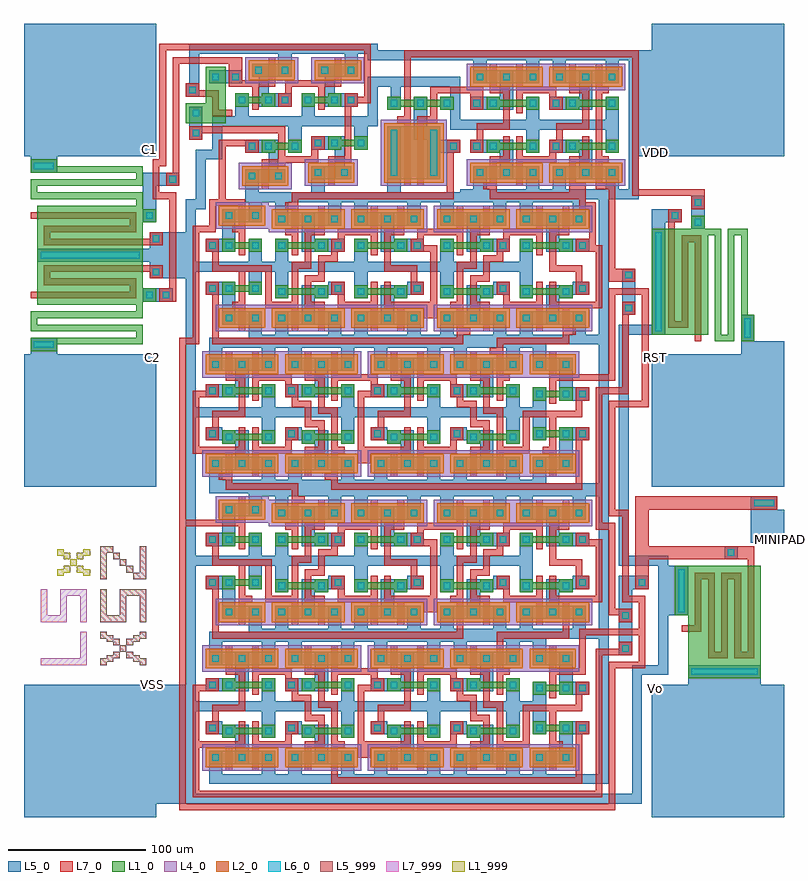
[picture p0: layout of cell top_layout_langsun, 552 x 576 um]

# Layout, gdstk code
from math import pi, radians
import gdstk
lib = gdstk.Library(unit=1e-6, precision=5e-10)
def R(c, l, rs):  # rectangles x0, y0, x1, y1
    for r in rs: c.add(gdstk.rectangle(r[:2], r[2:], *l))
def A(c, l, x, y, w, h, nx, ny, dx, dy):  # array of equal rectangles
    R(c, l, [(x+i*dx, y+j*dy, x+i*dx+w, y+j*dy+h) for i in range(nx) for j in range(ny)])
L1_0 = (1, 0)
L1_999 = (1, 999)
L2_0 = (2, 0)
L4_0 = (4, 0)
L5_0 = (5, 0)
L5_999 = (5, 999)
L6_0 = (6, 0)
L7_0 = (7, 0)
L7_999 = (7, 999)

sprsg_frame_langsun = lib.new_cell('SPRSG_Frame_langsun')
A(sprsg_frame_langsun, L5_0, 0, 0, 96, 96, 1, 3, 0, 240)
A(sprsg_frame_langsun, L5_0, 456, 0, 96, 96, 1, 3, 0, 240)
sprsg_frame_langsun.add(gdstk.Label('Vo', (511.2,50.4), layer=230, texttype=0))
sprsg_frame_langsun.add(gdstk.Label('RST', (508.8,290.4), layer=230, texttype=0))
sprsg_frame_langsun.add(gdstk.Label('VDD', (508.8,532.8), layer=230, texttype=0))
sprsg_frame_langsun.add(gdstk.Label('VSS', (50.4,45.6), layer=230, texttype=0))
sprsg_frame_langsun.add(gdstk.Label('C2', (50.4,285.6), layer=230, texttype=0))
sprsg_frame_langsun.add(gdstk.Label('C1', (50.4,525.6), layer=230, texttype=0))

outputbuffer_layout_lang = lib.new_cell('outputBuffer_layout_langsun')
R(outputbuffer_layout_lang, L1_0, [(820.8,-592.8,864,-583.2), (864,-592.8,873.6,-583.2), (820.8,-583.2,840,-511.2), (840,-583.2,873.6,-511.2), (811.2,-547.2,820.8,-520.8), (811.2,-520.8,820.8,-511.2)])
R(outputbuffer_layout_lang, L5_0, [(820.8,-592.8,873.6,-583.2), (864,-592.8,873.6,-583.2), (871.2,-592.8,873.6,-590.4), (811.2,-547.2,820.8,-520.8), (811.2,-520.8,820.8,-511.2), (811.2,-513.6,813.6,-511.2), (847.2,-506.4,856.8,-496.8), (854.4,-499.2,856.8,-496.8)])
R(outputbuffer_layout_lang, L6_0, [(823.2,-590.4,871.2,-585.6), (813.6,-544.8,818.4,-513.6), (849.6,-504,854.4,-499.2)])
R(outputbuffer_layout_lang, L7_0, [(835.2,-578.4,844.8,-573.6), (844.8,-578.4,849.6,-516), (854.4,-578.4,859.2,-516), (859.2,-578.4,864,-573.6), (864,-578.4,868.8,-544.8), (835.2,-573.6,840,-516), (816,-559.2,825.6,-554.4), (825.6,-559.2,830.4,-554.4), (825.6,-554.4,830.4,-540), (864,-544.8,868.8,-506.4), (825.6,-540,830.4,-520.8), (825.6,-520.8,835.2,-516), (849.6,-520.8,854.4,-516), (847.2,-506.4,856.8,-496.8), (856.8,-506.4,861.6,-496.8), (861.6,-506.4,868.8,-496.8)])
outputbuffer_layout_lang.add(gdstk.Label('Vin', (854.4,-499.2), layer=5, texttype=0))
outputbuffer_layout_lang.add(gdstk.Label('VSS', (813.6,-513.6), layer=5, texttype=0))
outputbuffer_layout_lang.add(gdstk.Label('Vout', (871.2,-590.4), layer=5, texttype=0))

input_protection_layout_ = lib.new_cell('input_protection_layout_langsun')
R(input_protection_layout_, L1_0, [(2.4,-237.6,12,-228), (12,-237.6,21.6,-232.8), (12,-232.8,72,-228), (72,-232.8,84,-228), (79.2,-228,84,-223.2), (2.4,-223.2,72,-218.4), (72,-223.2,84,-218.4), (2.4,-218.4,7.2,-213.6), (2.4,-213.6,64.8,-208.8), (64.8,-213.6,84,-208.8), (79.2,-208.8,84,-199.2), (7.2,-204,16.8,-199.2), (16.8,-204,64.8,-199.2), (64.8,-204,79.2,-199.2), (84,-201.6,93.6,-192), (7.2,-199.2,84,-172.8), (7.2,-172.8,84,-163.2), (7.2,-163.2,84,-136.8), (84,-144,93.6,-134.4), (7.2,-136.8,16.8,-132), (16.8,-136.8,64.8,-132), (64.8,-136.8,79.2,-132), (79.2,-136.8,84,-127.2), (2.4,-127.2,64.8,-122.4), (64.8,-127.2,84,-122.4), (2.4,-122.4,7.2,-117.6), (2.4,-117.6,72,-112.8), (72,-117.6,84,-112.8), (79.2,-112.8,84,-108), (2.4,-108,12,-98.4), (12,-108,72,-103.2), (72,-108,84,-103.2), (12,-103.2,21.6,-98.4)])
R(input_protection_layout_, L5_0, [(2.4,-237.6,12,-228), (12,-237.6,21.6,-228), (84,-201.6,105.6,-192), (103.2,-201.6,105.6,-199.2), (88.8,-184.8,98.4,-175.2), (88.8,-175.2,98.4,-172.8), (7.2,-172.8,84,-170.4), (84,-172.8,98.4,-170.4), (7.2,-170.4,98.4,-163.2), (96,-170.4,98.4,-168), (88.8,-163.2,98.4,-160.8), (88.8,-160.8,98.4,-151.2), (84,-144,93.6,-134.4), (91.2,-136.8,93.6,-134.4), (2.4,-108,12,-98.4), (12,-108,21.6,-98.4)])
R(input_protection_layout_, L6_0, [(4.8,-235.2,19.2,-230.4), (86.4,-199.2,91.2,-194.4), (98.4,-199.2,103.2,-194.4), (91.2,-182.4,96,-177.6), (9.6,-170.4,81.6,-165.6), (91.2,-158.4,96,-153.6), (86.4,-141.6,91.2,-136.8), (4.8,-105.6,19.2,-100.8)])
R(input_protection_layout_, L7_0, [(96,-201.6,105.6,-192), (2.4,-199.2,7.2,-194.4), (7.2,-199.2,67.2,-194.4), (67.2,-199.2,79.2,-194.4), (74.4,-194.4,79.2,-184.8), (12,-189.6,72,-184.8), (72,-189.6,74.4,-184.8), (12,-184.8,16.8,-175.2), (88.8,-184.8,98.4,-175.2), (16.8,-180,19.2,-175.2), (19.2,-180,79.2,-175.2), (79.2,-180,88.8,-175.2), (12,-160.8,16.8,-151.2), (16.8,-160.8,19.2,-156), (19.2,-160.8,79.2,-156), (79.2,-160.8,88.8,-156), (88.8,-160.8,98.4,-151.2), (12,-151.2,72,-146.4), (72,-151.2,74.4,-146.4), (74.4,-151.2,79.2,-141.6), (2.4,-141.6,7.2,-136.8), (7.2,-141.6,67.2,-136.8), (67.2,-141.6,79.2,-136.8)])
input_protection_layout_.add(gdstk.Label('ProtectOut', (103.2,-196.8), layer=5, texttype=0))
input_protection_layout_.add(gdstk.Label('ProtectOut', (91.2,-136.8), layer=5, texttype=0))
input_protection_layout_.add(gdstk.Label('VSS', (96,-168), layer=5, texttype=0))

input_protection3_layout = lib.new_cell('input_protection3_layout_langsun')
R(input_protection3_layout, L1_0, [(7.2,-172.8,84,-163.2), (7.2,-163.2,84,-136.8), (84,-144,93.6,-134.4), (7.2,-136.8,16.8,-132), (16.8,-136.8,64.8,-132), (64.8,-136.8,79.2,-132), (79.2,-136.8,84,-127.2), (2.4,-127.2,64.8,-122.4), (64.8,-127.2,84,-122.4), (2.4,-122.4,7.2,-117.6), (2.4,-117.6,72,-112.8), (72,-117.6,84,-112.8), (79.2,-112.8,84,-108), (2.4,-108,12,-98.4), (12,-108,72,-103.2), (72,-108,84,-103.2), (12,-103.2,21.6,-98.4)])
R(input_protection3_layout, L5_0, [(7.2,-172.8,84,-170.4), (84,-172.8,98.4,-170.4), (7.2,-170.4,98.4,-163.2), (96,-170.4,98.4,-168), (88.8,-163.2,98.4,-160.8), (88.8,-160.8,98.4,-151.2), (84,-144,93.6,-134.4), (91.2,-136.8,93.6,-134.4), (2.4,-108,12,-98.4), (12,-108,21.6,-98.4)])
R(input_protection3_layout, L6_0, [(9.6,-170.4,81.6,-165.6), (91.2,-158.4,96,-153.6), (86.4,-141.6,91.2,-136.8), (4.8,-105.6,19.2,-100.8)])
R(input_protection3_layout, L7_0, [(12,-160.8,16.8,-151.2), (16.8,-160.8,19.2,-156), (19.2,-160.8,79.2,-156), (79.2,-160.8,88.8,-156), (88.8,-160.8,98.4,-151.2), (12,-151.2,72,-146.4), (72,-151.2,74.4,-146.4), (74.4,-151.2,79.2,-141.6), (2.4,-141.6,7.2,-136.8), (7.2,-141.6,67.2,-136.8), (67.2,-141.6,79.2,-136.8)])
input_protection3_layout.add(gdstk.Label('ProtectOut', (91.2,-136.8), layer=5, texttype=0))
input_protection3_layout.add(gdstk.Label('VSS', (96,-168), layer=5, texttype=0))

nand6_layout_langsun = lib.new_cell('NAND6_layout_langsun')
A(nand6_layout_langsun, L1_0, 4.8, -9.6, 9.6, 9.6, 5, 1, 9.6, 0)
R(nand6_layout_langsun, L1_0, [(4.8,-28.8,14.4,-19.2), (33.6,-28.8,43.2,-19.2), (14.4,-26.4,33.6,-21.6)])
R(nand6_layout_langsun, L2_0, [(2.4,-12,55.2,2.4)])
R(nand6_layout_langsun, L4_0, [(0,-14.4,57.6,4.8)])
A(nand6_layout_langsun, L5_0, 4.8, -9.6, 9.6, 9.6, 3, 1, 19.2, 0)
R(nand6_layout_langsun, L5_0, [(4.8,-38.4,14.4,-28.8), (43.2,-31.2,55.2,-21.6), (52.8,-31.2,55.2,-28.8), (4.8,-28.8,7.2,-26.4), (4.8,-28.8,14.4,-19.2), (24,-28.8,33.6,-26.4), (33.6,-28.8,43.2,-19.2), (24,-26.4,33.6,-19.2), (24,-19.2,33.6,-9.6), (4.8,-2.4,7.2,0), (4.8,0,14.4,7.2), (43.2,0,52.8,7.2)])
A(nand6_layout_langsun, L6_0, 7.2, -7.2, 4.8, 4.8, 3, 1, 19.2, 0)
R(nand6_layout_langsun, L6_0, [(48,-28.8,52.8,-24), (7.2,-26.4,12,-21.6), (36,-26.4,40.8,-21.6)])
R(nand6_layout_langsun, L7_0, [(16.8,-31.2,21.6,-16.8), (26.4,-31.2,31.2,-16.8), (45.6,-31.2,55.2,-21.6), (12,-16.8,16.8,-12), (16.8,-16.8,21.6,4.8), (26.4,-16.8,38.4,-12), (38.4,-16.8,40.8,-12), (36,-12,40.8,4.8)])
nand6_layout_langsun.add(gdstk.Label('Vo', (52.8,-28.8), layer=5, texttype=0))
nand6_layout_langsun.add(gdstk.Label('VDD', (7.2,-2.4), layer=5, texttype=0))
nand6_layout_langsun.add(gdstk.Label('VSS', (7.2,-26.4), layer=5, texttype=0))

nand7_layout_langsun = lib.new_cell('NAND7_layout_langsun')
A(nand7_layout_langsun, L1_0, 4.8, -9.6, 9.6, 9.6, 5, 1, 9.6, 0)
R(nand7_layout_langsun, L1_0, [(4.8,-28.8,14.4,-19.2), (33.6,-28.8,43.2,-19.2), (14.4,-26.4,33.6,-21.6)])
R(nand7_layout_langsun, L2_0, [(2.4,-12,55.2,2.4)])
R(nand7_layout_langsun, L4_0, [(0,-14.4,57.6,4.8)])
A(nand7_layout_langsun, L5_0, 4.8, -9.6, 9.6, 9.6, 3, 1, 19.2, 0)
R(nand7_layout_langsun, L5_0, [(4.8,-36,14.4,-28.8), (4.8,-28.8,7.2,-26.4), (4.8,-28.8,14.4,-19.2), (24,-28.8,33.6,-26.4), (33.6,-28.8,43.2,-19.2), (43.2,-28.8,55.2,-19.2), (52.8,-28.8,55.2,-26.4), (24,-26.4,33.6,-19.2), (24,-19.2,33.6,-9.6), (4.8,-2.4,7.2,0), (4.8,0,14.4,7.2), (43.2,0,52.8,7.2)])
A(nand7_layout_langsun, L6_0, 7.2, -7.2, 4.8, 4.8, 3, 1, 19.2, 0)
R(nand7_layout_langsun, L6_0, [(7.2,-26.4,12,-21.6), (36,-26.4,40.8,-21.6), (48,-26.4,52.8,-21.6)])
R(nand7_layout_langsun, L7_0, [(16.8,-31.2,21.6,-16.8), (26.4,-31.2,31.2,-16.8), (45.6,-28.8,55.2,-19.2), (12,-16.8,16.8,-12), (16.8,-16.8,21.6,4.8), (26.4,-16.8,38.4,-12), (38.4,-16.8,40.8,-12), (36,-12,40.8,4.8)])
nand7_layout_langsun.add(gdstk.Label('Vo', (52.8,-26.4), layer=5, texttype=0))
nand7_layout_langsun.add(gdstk.Label('VDD', (7.2,-2.4), layer=5, texttype=0))
nand7_layout_langsun.add(gdstk.Label('VSS', (7.2,-26.4), layer=5, texttype=0))

inverter2_layout_langsun = lib.new_cell('inverter2_layout_langsun')
A(inverter2_layout_langsun, L1_0, 0, -38.4, 9.6, 4.8, 3, 1, 9.6, 0)
A(inverter2_layout_langsun, L1_0, 0, -19.2, 9.6, 9.6, 3, 1, 9.6, 0)
R(inverter2_layout_langsun, L1_0, [(0,-40.8,9.6,-38.4), (19.2,-40.8,28.8,-38.4), (0,-33.6,9.6,-31.2), (19.2,-33.6,28.8,-31.2)])
R(inverter2_layout_langsun, L2_0, [(-2.4,-21.6,31.2,-7.2)])
R(inverter2_layout_langsun, L4_0, [(-4.8,-24,33.6,-4.8)])
R(inverter2_layout_langsun, L5_0, [(0,-40.8,2.4,-38.4), (0,-40.8,9.6,-31.2), (19.2,-40.8,28.8,-38.4), (28.8,-40.8,31.2,-31.2), (31.2,-40.8,40.8,-31.2), (38.4,-40.8,40.8,-38.4), (19.2,-38.4,28.8,-9.6), (0,-19.2,9.6,-9.6), (0,-12,2.4,-9.6)])
R(inverter2_layout_langsun, L6_0, [(2.4,-38.4,7.2,-33.6), (21.6,-38.4,26.4,-33.6), (33.6,-38.4,38.4,-33.6), (2.4,-16.8,7.2,-12), (21.6,-16.8,26.4,-12)])
R(inverter2_layout_langsun, L7_0, [(12,-43.2,16.8,-40.8), (12,-40.8,16.8,-4.8), (31.2,-40.8,40.8,-31.2)])
inverter2_layout_langsun.add(gdstk.Label('Vout', (38.4,-38.4), layer=5, texttype=0))
inverter2_layout_langsun.add(gdstk.Label('VSS', (2.4,-38.4), layer=5, texttype=0))
inverter2_layout_langsun.add(gdstk.Label('VDD', (2.4,-12), layer=5, texttype=0))

dflipflop6_layout_langsu = lib.new_cell('DFlipFlop6_layout_langsun')
R(dflipflop6_layout_langsu, L5_0, [(242.4,-357.6,261.6,-350.4), (261.6,-357.6,482.4,-350.4), (482.4,-357.6,487.2,-350.4), (242.4,-350.4,252,-343.2), (242.4,-312,252,-304.8), (242.4,-304.8,261.6,-297.6), (261.6,-304.8,448.8,-297.6), (242.4,-300,244.8,-297.6), (242.4,-297.6,252,-292.8), (242.4,-292.8,252,-290.4), (487.2,-283.2,489.6,-280.8), (242.4,-261.6,252,-254.4), (242.4,-254.4,266.4,-247.2), (266.4,-254.4,487.2,-247.2), (242.4,-249.6,244.8,-247.2)])
R(dflipflop6_layout_langsu, L7_0, [(216,-357.6,244.8,-352.8), (244.8,-357.6,393.6,-352.8), (393.6,-357.6,398.4,-348), (216,-352.8,220.8,-321.6), (254.4,-331.2,268.8,-326.4), (307.2,-331.2,312,-321.6), (312,-331.2,326.4,-326.4), (355.2,-331.2,376.8,-326.4), (376.8,-331.2,379.2,-326.4), (427.2,-331.2,432,-321.6), (432,-331.2,446.4,-326.4), (475.2,-331.2,494.4,-326.4), (494.4,-331.2,499.2,-285.6), (254.4,-326.4,259.2,-300), (374.4,-326.4,379.2,-285.6), (273.6,-312,278.4,-302.4), (283.2,-312,292.8,-307.2), (292.8,-312,297.6,-297.6), (360,-312,364.8,-304.8), (393.6,-312,398.4,-297.6), (403.2,-312,408,-307.2), (408,-312,417.6,-307.2), (480,-312,484.8,-304.8), (235.2,-309.6,240,-304.8), (412.8,-307.2,417.6,-295.2), (216,-304.8,235.2,-300), (235.2,-304.8,254.4,-300), (340.8,-304.8,345.6,-300), (345.6,-304.8,364.8,-300), (460.8,-304.8,465.6,-300), (465.6,-304.8,484.8,-300), (273.6,-302.4,283.2,-297.6), (283.2,-302.4,288,-292.8), (398.4,-302.4,403.2,-297.6), (403.2,-302.4,408,-292.8), (216,-300,220.8,-292.8), (340.8,-300,345.6,-297.6), (460.8,-300,465.6,-292.8), (292.8,-297.6,307.2,-292.8), (340.8,-297.6,345.6,-292.8), (417.6,-297.6,427.2,-295.2), (412.8,-295.2,427.2,-292.8), (216,-292.8,220.8,-290.4), (302.4,-292.8,307.2,-290.4), (422.4,-292.8,427.2,-290.4), (369.6,-290.4,374.4,-285.6), (489.6,-290.4,494.4,-285.6), (307.2,-280.8,312,-273.6), (364.8,-280.8,369.6,-273.6), (427.2,-280.8,432,-273.6), (312,-278.4,326.4,-273.6), (369.6,-278.4,388.8,-273.6), (432,-278.4,446.4,-273.6)])
dflipflop6_layout_langsu.add(gdstk.Reference(nand6_layout_langsun, (434.4,-343.2), x_reflection=True))
dflipflop6_layout_langsu.add(gdstk.Reference(nand6_layout_langsun, (376.8,-343.2), x_reflection=True))
dflipflop6_layout_langsu.add(gdstk.Reference(nand6_layout_langsun, (314.4,-343.2), x_reflection=True))
dflipflop6_layout_langsu.add(gdstk.Reference(nand6_layout_langsun, (256.8,-343.2), x_reflection=True))
dflipflop6_layout_langsu.add(gdstk.Reference(nand7_layout_langsun, (256.8,-261.6)))
dflipflop6_layout_langsu.add(gdstk.Reference(nand7_layout_langsun, (314.4,-261.6)))
dflipflop6_layout_langsu.add(gdstk.Reference(nand7_layout_langsun, (376.8,-261.6)))
dflipflop6_layout_langsu.add(gdstk.Reference(nand7_layout_langsun, (434.4,-261.6)))
dflipflop6_layout_langsu.add(gdstk.Reference(inverter2_layout_langsun, (252,-249.6), rotation=pi, x_reflection=True))
dflipflop6_layout_langsu.add(gdstk.Reference(inverter2_layout_langsun, (252,-352.8), rotation=pi))
dflipflop6_layout_langsu.add(gdstk.Label('VSS', (244.8,-300), layer=5, texttype=0))
dflipflop6_layout_langsu.add(gdstk.Label('q', (487.2,-283.2), layer=5, texttype=0))
dflipflop6_layout_langsu.add(gdstk.Label('VDD', (244.8,-249.6), layer=5, texttype=0))

inverter3_layout_langsun = lib.new_cell('inverter3_layout_langsun')
A(inverter3_layout_langsun, L1_0, 0, -38.4, 9.6, 4.8, 3, 1, 9.6, 0)
A(inverter3_layout_langsun, L1_0, 12, -19.2, 9.6, 9.6, 3, 1, 9.6, 0)
R(inverter3_layout_langsun, L1_0, [(0,-40.8,9.6,-38.4), (19.2,-40.8,28.8,-38.4), (0,-33.6,9.6,-31.2), (19.2,-33.6,28.8,-31.2)])
R(inverter3_layout_langsun, L2_0, [(9.6,-21.6,43.2,-7.2)])
R(inverter3_layout_langsun, L4_0, [(7.2,-24,45.6,-4.8)])
R(inverter3_layout_langsun, L5_0, [(0,-40.8,2.4,-38.4), (0,-40.8,9.6,-31.2), (16.8,-40.8,19.2,-19.2), (19.2,-40.8,28.8,-38.4), (28.8,-40.8,31.2,-31.2), (31.2,-40.8,40.8,-31.2), (38.4,-40.8,40.8,-38.4), (19.2,-38.4,28.8,-31.2), (19.2,-31.2,21.6,-19.2), (21.6,-31.2,24,-21.6), (19.2,-21.6,21.6,-19.2), (21.6,-21.6,24,-9.6), (12,-19.2,14.4,-9.6), (14.4,-19.2,21.6,-9.6), (31.2,-19.2,40.8,-9.6), (38.4,-12,40.8,-9.6)])
R(inverter3_layout_langsun, L6_0, [(2.4,-38.4,7.2,-33.6), (21.6,-38.4,26.4,-33.6), (33.6,-38.4,38.4,-33.6), (14.4,-16.8,19.2,-12), (33.6,-16.8,38.4,-12)])
R(inverter3_layout_langsun, L7_0, [(12,-43.2,16.8,-40.8), (12,-40.8,16.8,-26.4), (31.2,-40.8,40.8,-31.2), (12,-26.4,28.8,-21.6), (24,-21.6,28.8,-4.8)])
inverter3_layout_langsun.add(gdstk.Label('Vout', (38.4,-38.4), layer=5, texttype=0))
inverter3_layout_langsun.add(gdstk.Label('VSS', (2.4,-38.4), layer=5, texttype=0))
inverter3_layout_langsun.add(gdstk.Label('VDD', (38.4,-12), layer=5, texttype=0))

clk_layout_langsun = lib.new_cell('clk_layout_langsun')
R(clk_layout_langsun, L1_0, [(-4.8,-62.4,9.6,-48), (9.6,-62.4,24,-60), (9.6,-60,24,-36), (9.6,-36,24,-21.6)])
R(clk_layout_langsun, L5_0, [(38.4,-120,96,-112.8), (38.4,-112.8,48,-110.4), (86.4,-112.8,96,-110.4), (38.4,-110.4,48,-105.6), (86.4,-110.4,96,-103.2), (14.4,-81.6,21.6,-64.8), (-2.4,-74.4,7.2,-60), (69.6,-74.4,79.2,-64.8), (117.6,-72,127.2,-64.8), (14.4,-64.8,31.2,-57.6), (31.2,-64.8,124.8,-57.6), (124.8,-64.8,134.4,-57.6), (-2.4,-60,7.2,-50.4), (31.2,-60,33.6,-57.6), (31.2,-57.6,40.8,-50.4), (79.2,-57.6,88.8,-50.4), (-4.8,-43.2,4.8,-33.6), (-2.4,-33.6,4.8,-28.8), (12,-33.6,21.6,-24), (21.6,-33.6,26.4,-24), (26.4,-33.6,36,-24), (-2.4,-28.8,4.8,-12), (62.4,-19.2,72,-12), (110.4,-19.2,120,-12), (-2.4,-12,0,-4.8), (0,-12,120,-4.8), (0,-7.2,2.4,-4.8)])
R(clk_layout_langsun, L6_0, [(0,-72,4.8,-67.2), (0,-57.6,4.8,-52.8), (-2.4,-40.8,2.4,-36), (14.4,-31.2,19.2,-26.4), (28.8,-31.2,33.6,-26.4)])
A(clk_layout_langsun, L7_0, 14.4, -57.6, 4.8, 4.8, 1, 4, 0, 4.8)
R(clk_layout_langsun, L7_0, [(67.2,-91.2,91.2,-86.4), (86.4,-86.4,91.2,-81.6), (28.8,-79.2,38.4,-74.4), (-2.4,-74.4,7.2,-64.8), (62.4,-72,67.2,-69.6), (7.2,-69.6,33.6,-64.8), (33.6,-69.6,43.2,-64.8), (43.2,-69.6,57.6,-64.8), (57.6,-69.6,67.2,-64.8), (110.4,-69.6,115.2,-50.4), (19.2,-57.6,28.8,-52.8), (120,-48,129.6,-43.2), (-4.8,-43.2,4.8,-33.6), (4.8,-43.2,7.2,-38.4), (7.2,-43.2,14.4,-38.4), (67.2,-40.8,72,-31.2), (26.4,-36,36,-24), (36,-36,38.4,-31.2), (38.4,-36,43.2,-31.2), (72,-36,91.2,-31.2)])
clk_layout_langsun.add(gdstk.Reference(inverter3_layout_langsun, (31.2,-9.6)))
clk_layout_langsun.add(gdstk.Reference(inverter3_layout_langsun, (79.2,-9.6)))
clk_layout_langsun.add(gdstk.Reference(inverter3_layout_langsun, (127.2,-112.8), rotation=pi))
clk_layout_langsun.add(gdstk.Reference(inverter3_layout_langsun, (79.2,-115.2), rotation=pi))
clk_layout_langsun.add(gdstk.Label('VSS', (33.6,-60), layer=5, texttype=0))
clk_layout_langsun.add(gdstk.Label('VDD', (2.4,-7.2), layer=5, texttype=0))

dflipflop5_layout_langsu = lib.new_cell('DFlipFlop5_layout_langsun')
R(dflipflop5_layout_langsu, L5_0, [(242.4,-357.6,261.6,-350.4), (261.6,-357.6,482.4,-350.4), (482.4,-357.6,487.2,-350.4), (242.4,-350.4,252,-343.2), (242.4,-312,252,-304.8), (242.4,-304.8,261.6,-297.6), (261.6,-304.8,448.8,-297.6), (242.4,-300,244.8,-297.6), (242.4,-297.6,252,-292.8), (487.2,-283.2,489.6,-280.8), (242.4,-261.6,252,-254.4), (242.4,-254.4,266.4,-247.2), (266.4,-254.4,487.2,-247.2), (242.4,-249.6,244.8,-247.2)])
R(dflipflop5_layout_langsu, L7_0, [(216,-357.6,244.8,-352.8), (244.8,-357.6,393.6,-352.8), (393.6,-357.6,398.4,-348), (216,-352.8,220.8,-321.6), (254.4,-331.2,268.8,-326.4), (307.2,-331.2,312,-321.6), (312,-331.2,326.4,-326.4), (355.2,-331.2,376.8,-326.4), (376.8,-331.2,379.2,-326.4), (427.2,-331.2,432,-321.6), (432,-331.2,446.4,-326.4), (475.2,-331.2,494.4,-326.4), (494.4,-331.2,499.2,-285.6), (254.4,-326.4,259.2,-300), (374.4,-326.4,379.2,-285.6), (273.6,-312,278.4,-302.4), (283.2,-312,292.8,-307.2), (292.8,-312,297.6,-297.6), (360,-312,364.8,-304.8), (393.6,-312,398.4,-297.6), (403.2,-312,408,-307.2), (408,-312,417.6,-307.2), (480,-312,484.8,-304.8), (235.2,-309.6,240,-304.8), (412.8,-307.2,417.6,-295.2), (216,-304.8,235.2,-300), (235.2,-304.8,254.4,-300), (340.8,-304.8,345.6,-300), (345.6,-304.8,364.8,-300), (460.8,-304.8,465.6,-300), (465.6,-304.8,484.8,-300), (273.6,-302.4,283.2,-297.6), (283.2,-302.4,288,-292.8), (398.4,-302.4,403.2,-297.6), (403.2,-302.4,408,-292.8), (216,-300,220.8,-292.8), (340.8,-300,345.6,-297.6), (460.8,-300,465.6,-292.8), (292.8,-297.6,307.2,-292.8), (340.8,-297.6,345.6,-292.8), (417.6,-297.6,427.2,-295.2), (412.8,-295.2,427.2,-292.8), (302.4,-292.8,307.2,-290.4), (422.4,-292.8,427.2,-290.4), (369.6,-290.4,374.4,-285.6), (489.6,-290.4,494.4,-285.6), (307.2,-280.8,312,-273.6), (364.8,-280.8,369.6,-273.6), (427.2,-280.8,432,-273.6), (312,-278.4,326.4,-273.6), (369.6,-278.4,388.8,-273.6), (432,-278.4,446.4,-273.6)])
dflipflop5_layout_langsu.add(gdstk.Reference(nand6_layout_langsun, (434.4,-343.2), x_reflection=True))
dflipflop5_layout_langsu.add(gdstk.Reference(nand6_layout_langsun, (376.8,-343.2), x_reflection=True))
dflipflop5_layout_langsu.add(gdstk.Reference(nand6_layout_langsun, (314.4,-343.2), x_reflection=True))
dflipflop5_layout_langsu.add(gdstk.Reference(nand6_layout_langsun, (256.8,-343.2), x_reflection=True))
dflipflop5_layout_langsu.add(gdstk.Reference(nand7_layout_langsun, (256.8,-261.6)))
dflipflop5_layout_langsu.add(gdstk.Reference(nand7_layout_langsun, (314.4,-261.6)))
dflipflop5_layout_langsu.add(gdstk.Reference(nand7_layout_langsun, (376.8,-261.6)))
dflipflop5_layout_langsu.add(gdstk.Reference(nand7_layout_langsun, (434.4,-261.6)))
dflipflop5_layout_langsu.add(gdstk.Reference(inverter2_layout_langsun, (252,-252), rotation=pi, x_reflection=True))
dflipflop5_layout_langsu.add(gdstk.Reference(inverter2_layout_langsun, (252,-352.8), rotation=pi))
dflipflop5_layout_langsu.add(gdstk.Label('VSS', (244.8,-300), layer=5, texttype=0))
dflipflop5_layout_langsu.add(gdstk.Label('q', (487.2,-283.2), layer=5, texttype=0))
dflipflop5_layout_langsu.add(gdstk.Label('VDD', (244.8,-249.6), layer=5, texttype=0))

nor_layout_langsun = lib.new_cell('NOR_layout_langsun')
A(nor_layout_langsun, L1_0, 9.6, -52.8, 9.6, 9.6, 3, 1, 19.2, 0)
R(nor_layout_langsun, L1_0, [(19.2,-50.4,28.8,-45.6), (38.4,-50.4,48,-45.6), (9.6,-31.2,48,7.2)])
R(nor_layout_langsun, L2_0, [(7.2,-33.6,50.4,9.6)])
R(nor_layout_langsun, L4_0, [(4.8,-36,52.8,12)])
A(nor_layout_langsun, L5_0, 9.6, -52.8, 9.6, 9.6, 3, 1, 19.2, 0)
R(nor_layout_langsun, L5_0, [(9.6,-52.8,12,-50.4), (55.2,-52.8,57.6,-50.4), (28.8,-43.2,38.4,-31.2), (9.6,-31.2,19.2,7.2), (28.8,-31.2,38.4,-24), (38.4,-31.2,48,7.2), (28.8,-24,38.4,-21.6), (9.6,4.8,12,7.2)])
A(nor_layout_langsun, L6_0, 12, -50.4, 4.8, 4.8, 3, 1, 19.2, 0)
R(nor_layout_langsun, L6_0, [(12,-28.8,16.8,4.8), (40.8,-28.8,45.6,4.8)])
R(nor_layout_langsun, L7_0, [(21.6,-57.6,26.4,-38.4), (40.8,-57.6,45.6,-38.4), (16.8,-38.4,26.4,-33.6), (31.2,-38.4,38.4,-33.6), (38.4,-38.4,45.6,-33.6), (21.6,-33.6,26.4,12), (31.2,-33.6,36,12)])
nor_layout_langsun.add(gdstk.Label('VSS', (57.6,-50.4), layer=5, texttype=0))
nor_layout_langsun.add(gdstk.Label('VDD', (12,4.8), layer=5, texttype=0))
nor_layout_langsun.add(gdstk.Label('VSS', (12,-50.4), layer=5, texttype=0))

xnor3_layout_langsun = lib.new_cell('XNOR3_layout_langsun')
R(xnor3_layout_langsun, L5_0, [(28.8,-240,134.4,-232.8), (134.4,-240,144,-232.8), (187.2,-235.2,196.8,-225.6), (192,-220.8,194.4,-213.6), (144,-206.4,146.4,-204), (144,-206.4,153.6,-196.8), (153.6,-206.4,156,-196.8), (156,-206.4,158.4,-196.8), (28.8,-189.6,144,-182.4), (144,-189.6,146.4,-182.4), (146.4,-189.6,151.2,-182.4), (28.8,-184.8,31.2,-182.4), (144,-182.4,151.2,-165.6), (144,-165.6,151.2,-151.2), (187.2,-165.6,194.4,-158.4), (151.2,-158.4,194.4,-151.2), (28.8,-139.2,134.4,-132)])
R(xnor3_layout_langsun, L6_0, [(146.4,-204,151.2,-199.2)])
R(xnor3_layout_langsun, L7_0, [(60,-240,64.8,-237.6), (64.8,-240,117.6,-235.2), (117.6,-240,122.4,-237.6), (60,-237.6,64.8,-230.4), (117.6,-237.6,122.4,-230.4), (74.4,-213.6,79.2,-206.4), (79.2,-213.6,93.6,-208.8), (144,-206.4,153.6,-196.8), (69.6,-196.8,74.4,-194.4), (127.2,-196.8,132,-194.4), (40.8,-194.4,45.6,-184.8), (69.6,-194.4,74.4,-189.6), (127.2,-194.4,132,-189.6), (50.4,-189.6,67.2,-184.8), (67.2,-189.6,74.4,-184.8), (108,-189.6,124.8,-184.8), (124.8,-189.6,132,-184.8), (40.8,-184.8,45.6,-177.6), (50.4,-184.8,55.2,-177.6), (108,-184.8,112.8,-177.6), (74.4,-165.6,79.2,-163.2), (127.2,-165.6,136.8,-163.2), (74.4,-163.2,93.6,-158.4), (127.2,-163.2,160.8,-158.4), (160.8,-160.8,165.6,-158.4)])
xnor3_layout_langsun.add(gdstk.Reference(nand7_layout_langsun, (24,-225.6), x_reflection=True))
xnor3_layout_langsun.add(gdstk.Reference(nand7_layout_langsun, (81.6,-225.6), x_reflection=True))
xnor3_layout_langsun.add(gdstk.Reference(nand7_layout_langsun, (24,-146.4)))
xnor3_layout_langsun.add(gdstk.Reference(nand7_layout_langsun, (81.6,-146.4)))
xnor3_layout_langsun.add(gdstk.Reference(nor_layout_langsun, (206.4,-218.4), rotation=pi))
xnor3_layout_langsun.add(gdstk.Label('VSS', (31.2,-184.8), layer=5, texttype=0))
xnor3_layout_langsun.add(gdstk.Label('Vo', (146.4,-204), layer=5, texttype=0))

prsg3_layout_langsun = lib.new_cell('PRSG3_layout_langsun')
R(prsg3_layout_langsun, L5_0, [(249.6,-429.6,280.8,-422.4), (280.8,-429.6,288,-422.4), (288,-429.6,295.2,-319.2), (-12,-376.8,-4.8,-374.4), (-4.8,-376.8,43.2,-369.6), (-12,-374.4,-4.8,-88.8), (302.4,-336,312,-326.4), (302.4,-326.4,312,-312), (278.4,-324,288,-316.8), (288,-319.2,295.2,-316.8), (288,-316.8,295.2,-242.4), (302.4,-312,312,-302.4), (-4.8,-271.2,33.6,-264), (288,-242.4,295.2,-165.6), (278.4,-220.8,288,-213.6), (4.8,-218.4,33.6,-216), (249.6,-213.6,288,-211.2), (288,-165.6,295.2,-103.2), (-4.8,-163.2,43.2,-156), (278.4,-110.4,288,-103.2), (288,-103.2,295.2,0), (-12,-88.8,-4.8,-50.4), (304.8,-88.8,314.4,-79.2), (304.8,-79.2,314.4,-64.8), (304.8,-64.8,314.4,-55.2), (-4.8,-57.6,2.4,-50.4), (2.4,-57.6,33.6,-50.4), (-12,-50.4,-4.8,-4.8), (-4.8,-12,2.4,-4.8), (-4.8,-4.8,2.4,24), (302.4,-4.8,309.6,2.4), (309.6,-4.8,316.8,103.2), (-4.8,24,14.4,31.2), (120,96,127.2,108), (127.2,96,196.8,103.2), (302.4,96,309.6,103.2), (112.8,100.8,120,108), (314.4,100.8,316.8,103.2)])
R(prsg3_layout_langsun, L6_0, [(304.8,-333.6,309.6,-328.8), (304.8,-309.6,309.6,-304.8), (307.2,-86.4,312,-81.6), (307.2,-62.4,312,-57.6)])
R(prsg3_layout_langsun, L7_0, [(-16.8,-448.8,-12,-446.4), (-12,-448.8,50.4,-444), (50.4,-448.8,300,-444), (-16.8,-446.4,-12,-244.8), (295.2,-444,300,-369.6), (-7.2,-439.2,-2.4,-436.8), (-2.4,-439.2,50.4,-434.4), (50.4,-439.2,276,-434.4), (276,-439.2,290.4,-434.4), (-7.2,-436.8,-2.4,-403.2), (285.6,-434.4,290.4,-376.8), (285.6,-376.8,290.4,-362.4), (295.2,-369.6,300,-340.8), (285.6,-362.4,290.4,-338.4), (256.8,-350.4,276,-345.6), (276,-350.4,278.4,-345.6), (273.6,-345.6,278.4,-316.8), (300,-345.6,321.6,-340.8), (316.8,-340.8,321.6,-316.8), (285.6,-338.4,290.4,-336), (285.6,-336,302.4,-331.2), (302.4,-336,312,-326.4), (213.6,-328.8,218.4,-319.2), (218.4,-324,266.4,-319.2), (278.4,-321.6,316.8,-316.8), (261.6,-319.2,266.4,-314.4), (316.8,-316.8,321.6,-297.6), (302.4,-312,312,-302.4), (295.2,-307.2,302.4,-302.4), (295.2,-302.4,300,-240), (304.8,-297.6,309.6,-235.2), (309.6,-297.6,321.6,-292.8), (-16.8,-244.8,-12,-110.4), (285.6,-244.8,295.2,-240), (-12,-242.4,26.4,-237.6), (285.6,-240,288,-141.6), (288,-240,290.4,-141.6), (295.2,-235.2,300,-230.4), (300,-235.2,309.6,-230.4), (295.2,-230.4,300,-156), (64.8,-223.2,69.6,-211.2), (16.8,-216,64.8,-211.2), (16.8,-211.2,21.6,-206.4), (295.2,-156,316.8,-151.2), (316.8,-156,319.2,-151.2), (319.2,-156,324,-74.4), (290.4,-146.4,307.2,-141.6), (307.2,-146.4,309.6,-141.6), (304.8,-141.6,309.6,-88.8), (256.8,-136.8,297.6,-132), (295.2,-136.8,300,-69.6), (213.6,-115.2,218.4,-105.6), (-16.8,-110.4,-7.2,-105.6), (-7.2,-110.4,-2.4,-28.8), (218.4,-110.4,266.4,-105.6), (261.6,-105.6,266.4,-100.8), (304.8,-88.8,314.4,-79.2), (300,-74.4,321.6,-69.6), (321.6,-74.4,324,-69.6), (295.2,-64.8,302.4,-55.2), (302.4,-64.8,304.8,-55.2), (304.8,-64.8,314.4,-55.2), (295.2,-55.2,300,-28.8), (280.8,-38.4,285.6,-12), (-7.2,-28.8,4.8,-24), (4.8,-28.8,9.6,-7.2), (295.2,-28.8,300,2.4), (273.6,-12,278.4,-4.8), (278.4,-12,285.6,-7.2), (4.8,-9.6,12,-4.8), (64.8,-9.6,69.6,-4.8), (64.8,-4.8,153.6,0), (153.6,-4.8,182.4,0), (271.2,-4.8,278.4,0), (177.6,0,182.4,28.8), (285.6,2.4,290.4,4.8), (285.6,2.4,295.2,7.2), (295.2,2.4,300,7.2), (312,19.2,316.8,98.4), (117.6,69.6,122.4,108), (-31.2,74.4,-26.4,108), (146.4,74.4,151.2,103.2), (151.2,98.4,316.8,103.2), (-26.4,103.2,117.6,108)])
prsg3_layout_langsun.add(gdstk.Reference(dflipflop6_layout_langsu, (-208.8,33.6)))
prsg3_layout_langsun.add(gdstk.Reference(dflipflop6_layout_langsu, (-208.8,247.2)))
prsg3_layout_langsun.add(gdstk.Reference(clk_layout_langsun, (-7.2,112.8)))
prsg3_layout_langsun.add(gdstk.Reference(dflipflop5_layout_langsu, (492,-72), rotation=pi, x_reflection=True))
prsg3_layout_langsun.add(gdstk.Reference(dflipflop5_layout_langsu, (492,141.6), rotation=pi, x_reflection=True))
prsg3_layout_langsun.add(gdstk.Reference(xnor3_layout_langsun, (331.2,235.2), rotation=pi, x_reflection=True))
prsg3_layout_langsun.add(gdstk.Label('VDD', (314.4,100.8), layer=5, texttype=0))

top_layout_langsun = lib.new_cell('top_layout_langsun')
R(top_layout_langsun, L1_999, [(24,-400.8,28.8,-396), (43.2,-400.8,48,-396), (28.8,-398.4,33.6,-393.6), (38.4,-398.4,43.2,-393.6), (33.6,-393.6,38.4,-388.8), (28.8,-388.8,33.6,-384), (38.4,-388.8,43.2,-384), (24,-386.4,28.8,-381.6), (43.2,-386.4,48,-381.6)])
R(top_layout_langsun, L5_0, [(96,-566.4,117.6,-480), (117.6,-566.4,448.8,-559.2), (117.6,-559.2,124.8,-552), (441.6,-559.2,448.8,-472.8), (117.6,-552,124.8,-499.2), (93.6,-482.4,96,-480), (456,-482.4,458.4,-480), (482.4,-480,535.2,-477.6), (482.4,-477.6,535.2,-475.2), (441.6,-472.8,448.8,-465.6), (448.8,-472.8,453.6,-465.6), (453.6,-472.8,460.8,-465.6), (460.8,-472.8,468,-393.6), (468,-429.6,472.8,-403.2), (432,-424.8,441.6,-400.8), (441.6,-410.4,453.6,-400.8), (468,-403.2,472.8,-393.6), (432,-393.6,468,-386.4), (432,-386.4,439.2,-218.4), (528,-376.8,552,-352.8), (549.6,-376.8,552,-374.4), (528,-352.8,540,-343.2), (540,-352.8,547.2,-343.2), (93.6,-242.4,96,-240), (456,-242.4,458.4,-240), (4.8,-240,24,-237.6), (520.8,-240,530.4,-230.4), (530.4,-240,552,-230.4), (439.2,-225.6,456,-218.4), (100.8,-184.8,117.6,-151.2), (484.8,-139.2,494.4,-124.8), (86.4,-134.4,96,-117.6), (86.4,-117.6,103.2,-108), (103.2,-117.6,112.8,-108), (4.8,-98.4,24,-96), (446.4,-96,456,-19.2), (456,-96,458.4,-93.6), (91.2,-93.6,93.6,-91.2), (249.6,-67.2,252,-38.4), (252,-67.2,256.8,-45.6), (252,-45.6,266.4,-38.4)])
R(top_layout_langsun, L5_999, [(55.2,-465.6,60,-460.8), (84,-465.6,88.8,-460.8), (60,-463.2,64.8,-458.4), (79.2,-463.2,84,-458.4), (64.8,-460.8,69.6,-456), (74.4,-460.8,79.2,-456), (69.6,-456,74.4,-451.2), (64.8,-451.2,69.6,-446.4), (74.4,-451.2,79.2,-446.4), (60,-448.8,64.8,-444), (79.2,-448.8,84,-444), (55.2,-446.4,60,-441.6), (84,-446.4,88.8,-441.6), (55.2,-434.4,60,-429.6), (60,-434.4,69.6,-429.6), (69.6,-434.4,74.4,-429.6), (84,-434.4,88.8,-415.2), (55.2,-429.6,60,-410.4), (69.6,-429.6,74.4,-415.2), (69.6,-415.2,74.4,-410.4), (74.4,-415.2,84,-410.4), (84,-415.2,88.8,-410.4), (55.2,-403.2,60,-379.2), (79.2,-403.2,88.8,-398.4), (74.4,-398.4,79.2,-393.6), (84,-398.4,88.8,-379.2), (69.6,-393.6,74.4,-388.8), (64.8,-388.8,69.6,-384), (60,-384,64.8,-379.2)])
R(top_layout_langsun, L6_0, [(446.4,-408,451.2,-403.2), (530.4,-350.4,544.8,-345.6), (487.2,-132,492,-127.2), (105.6,-115.2,110.4,-110.4)])
R(top_layout_langsun, L7_0, [(242.4,-532.8,252,-525.6), (386.4,-525.6,391.2,-520.8), (290.4,-427.2,300,-420), (160.8,-420,165.6,-415.2), (444,-410.4,453.6,-400.8), (444,-400.8,453.6,-343.2), (453.6,-388.8,508.8,-379.2), (453.6,-352.8,540,-343.2), (540,-352.8,547.2,-343.2), (199.2,-348,204,-343.2), (141.6,-331.2,146.4,-326.4), (218.4,-331.2,223.2,-326.4), (242.4,-319.2,252,-312), (376.8,-312,381.6,-307.2), (338.4,-240,343.2,-235.2), (319.2,-225.6,324,-220.8), (396,-225.6,400.8,-220.8), (290.4,-213.6,300,-206.4), (151.2,-206.4,156,-201.6), (108,-201.6,110.4,-192), (105.6,-192,110.4,-146.4), (151.2,-151.2,156,-146.4), (105.6,-146.4,110.4,-127.2), (189.6,-134.4,194.4,-129.6), (484.8,-134.4,494.4,-124.8), (141.6,-132,146.4,-129.6), (146.4,-132,160.8,-127.2), (141.6,-129.6,146.4,-84), (93.6,-127.2,98.4,-103.2), (98.4,-127.2,110.4,-122.4), (441.6,-124.8,446.4,-103.2), (446.4,-124.8,492,-120), (492,-124.8,494.4,-120), (400.8,-122.4,408,-115.2), (333.6,-120,338.4,-115.2), (103.2,-117.6,112.8,-108), (108,-108,112.8,-48), (93.6,-103.2,98.4,-98.4), (98.4,-103.2,103.2,-96), (98.4,-96,103.2,-48), (146.4,-88.8,151.2,-84), (108,-48,112.8,-31.2), (148.8,-33.6,158.4,-31.2), (108,-31.2,112.8,-28.8), (148.8,-31.2,158.4,-28.8), (108,-28.8,158.4,-24)])
R(top_layout_langsun, L7_999, [(12,-465.6,45.6,-460.8), (40.8,-460.8,45.6,-441.6), (12,-434.4,16.8,-410.4), (16.8,-434.4,31.2,-429.6), (40.8,-434.4,45.6,-415.2), (26.4,-429.6,31.2,-410.4), (31.2,-415.2,45.6,-410.4)])
top_layout_langsun.add(gdstk.Reference(sprsg_frame_langsun, (0,-576)))
top_layout_langsun.add(gdstk.Reference(outputbuffer_layout_lang, (-338.4,117.6)))
top_layout_langsun.add(gdstk.Reference(input_protection_layout_, (2.4,0)))
top_layout_langsun.add(gdstk.Reference(input_protection3_layout, (628.8,-232.8), rotation=pi/2, x_reflection=True))
top_layout_langsun.add(gdstk.Reference(prsg3_layout_langsun, (129.6,-122.4)))
top_layout_langsun.add(gdstk.Label('MINIPAD', (549.6,-374.4), layer=5, texttype=0))
top_layout_langsun.add(gdstk.Label('VDD', (458.4,-93.6), layer=5, texttype=0))
top_layout_langsun.add(gdstk.Label('RST', (458.4,-242.4), layer=5, texttype=0))
top_layout_langsun.add(gdstk.Label('C1', (91.2,-91.2), layer=5, texttype=0))
top_layout_langsun.add(gdstk.Label('C2', (93.6,-242.4), layer=5, texttype=0))
top_layout_langsun.add(gdstk.Label('Vo', (458.4,-482.4), layer=5, texttype=0))
top_layout_langsun.add(gdstk.Label('VSS', (93.6,-480), layer=5, texttype=0))

lib.write_gds('top_layout_langsun.gds')
